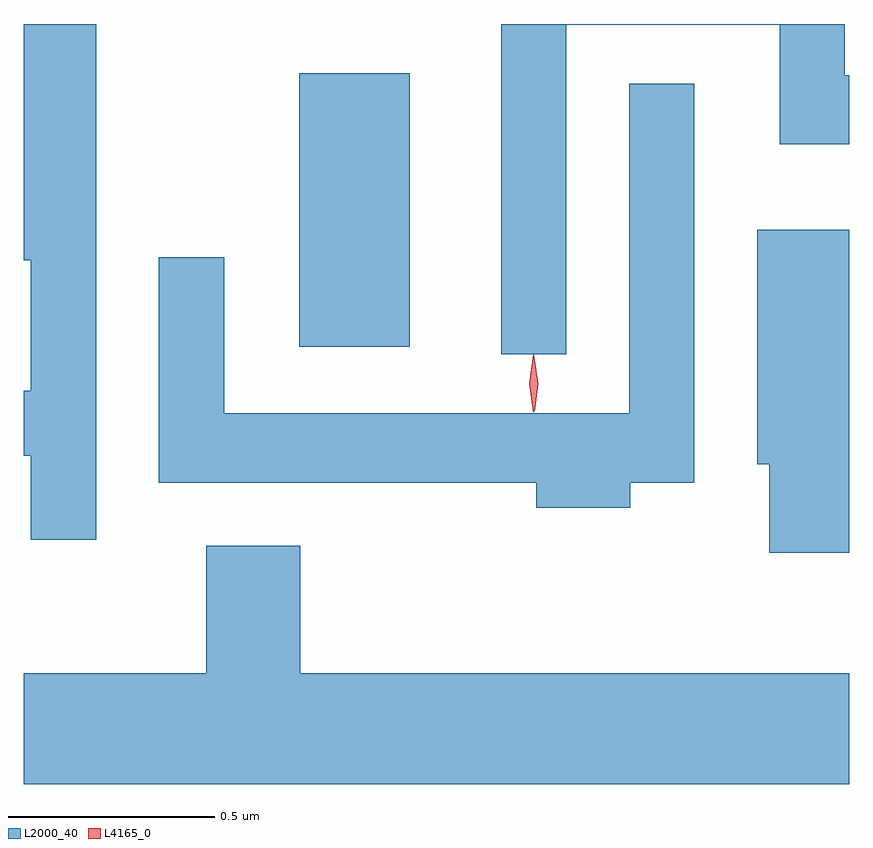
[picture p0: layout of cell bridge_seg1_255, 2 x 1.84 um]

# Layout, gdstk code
import gdstk
lib = gdstk.Library(unit=1e-6, precision=1e-09)
def R(c, l, rs):  # rectangles x0, y0, x1, y1
    for r in rs: c.add(gdstk.rectangle(r[:2], r[2:], *l))
def P(c, l, *ps):  # polygons
    for p in ps: c.add(gdstk.Polygon(p, *l))
L2000_40 = (2000, 40)
L4165_0 = (4165, 0)

bridge_seg1_255 = lib.new_cell('bridge_seg1_255')
R(bridge_seg1_255, L2000_40, [(961.186,896.196,961.454,896.859)])
P(bridge_seg1_255, L2000_40, [(960.694,896.978),(960.519,896.978),(960.519,896.406),(960.536,896.406),(960.536,896.089),(960.519,896.089),(960.519,895.931),(960.536,895.931),(960.536,895.728),(960.694,895.728)],
  [(961.834,896.976),(962.351,896.976),(962.351,896.686),(962.519,896.686),(962.519,896.854),(962.509,896.854),(962.509,896.978),(961.676,896.978),(961.676,896.178),(961.834,896.178)],
  [(961.989,895.866),(962.144,895.866),(962.144,896.833),(961.986,896.833),(961.986,896.034),(961.004,896.034),(961.004,896.413),(960.846,896.413),(960.846,895.866),(961.761,895.866),(961.761,895.806),(961.989,895.806)],
  [(962.519,896.479),(962.296,896.479),(962.296,895.911),(962.326,895.911),(962.326,895.696),(962.519,895.696)],
  [(962.519,895.404),(961.189,895.404),(961.189,895.714),(960.961,895.714),(960.961,895.404),(960.519,895.404),(960.519,895.136),(962.519,895.136)])
P(bridge_seg1_255, L4165_0, [(961.754,896.037),(961.754,896.037),(961.744,896.106),(961.754,896.176),(961.754,896.176),(961.755,896.176),(961.764,896.106),(961.755,896.037)],
  [(961.756,896.039),(961.756,896.04),(961.746,896.106),(961.755,896.172),(961.756,896.173),(961.756,896.172),(961.766,896.106),(961.757,896.04)])

lib.write_gds('bridge_seg1_255.gds')
